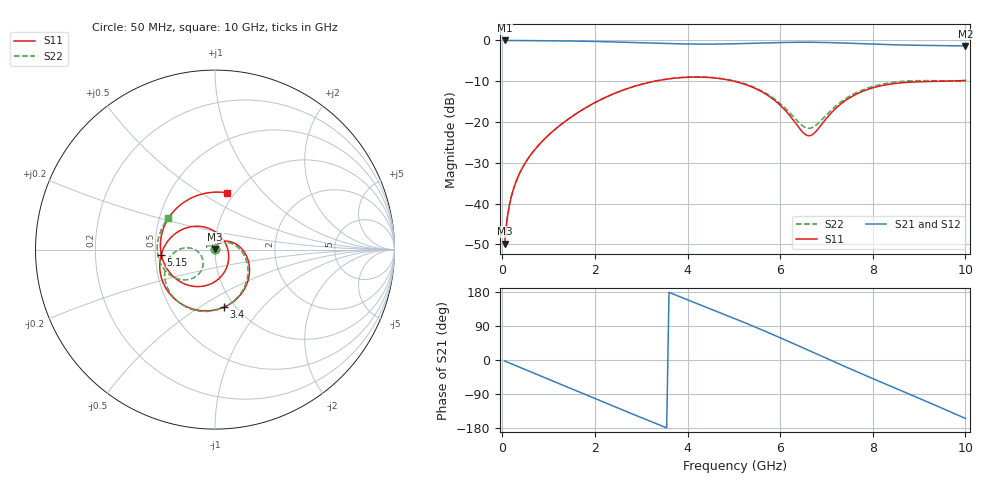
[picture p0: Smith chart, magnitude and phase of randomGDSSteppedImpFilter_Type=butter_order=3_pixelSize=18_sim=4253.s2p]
! freq	dB(S11)	phase(S11)	dB(S12)	phase(S12)
!  dB(S21)	phase(S21)	dB(S22)	phase(S22)
!S-par simulation data
#  GHz  S  DB  R 50
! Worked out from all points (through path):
!   200 points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, 50 MHz to 10 GHz, reference 50 ohm
!   highest |S21| = 0.00 dB at 50 MHz (marker M1); lowest = -1.3 dB at 10 GHz (marker M2)
!   group delay of S21, straight-line fit = 142 ps
!   lowest |S11| = -49.8 dB at 50 MHz (marker M3), VSWR 1.01, Z = 50.1 + j0.317 ohm
!   |S11| at or under -10 dB: start of sweep to 3.289 GHz; 5.007 GHz to 9.513 GHz (4.506 GHz wide, 62.1 % of centre)
!   |S22| runs from -50.4 to -8.9 dB; largest |S21 - S12| = 0
!   S11 on the Smith chart (normalised r, x): 50 MHz: 1.00, +0.01; 3.4 GHz: 0.89, -0.64; 5.15 GHz: 0.54, -0.03; 10 GHz: 0.93, +0.65
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0.05  -49.77 77.0  -0.00 -2.6  -0.00 -2.6  -50.41 80.5
0.1  -44.01 79.7  -0.01 -5.1  -0.01 -5.1  -44.10 79.6
0.2  -38.05 77.7  -0.02 -10.2  -0.02 -10.2  -38.02 76.1
0.45  -30.89 67.5  -0.04 -22.9  -0.04 -22.9  -30.89 64.7
1.15  -21.68 34.5  -0.10 -58.4  -0.10 -58.4  -21.70 29.0
1.75  -16.84 4.1  -0.19 -88.9  -0.19 -88.9  -16.85 -1.5
2.2  -14.10 -19.2  -0.30 -111.8  -0.30 -111.8  -14.11 -24.0
2.65  -12.00 -42.7  -0.45 -134.5  -0.45 -134.5  -12.00 -46.0
3.4  -9.76 -81.6  -0.72 -171.8  -0.72 -171.8  -9.74 -81.3
4.2  -8.97 -122.8  -0.90 149.4  -0.90 149.4  -8.93 -117.1
5.05  -10.12 -168.9  -0.81 107.8  -0.81 107.8  -10.02 -152.9
5.15  -10.44 -174.7  -0.78 102.8  -0.78 102.8  -10.32 -156.9
5.9  -14.86 134.7  -0.54 64.1  -0.54 64.1  -14.53 178.5
6.5  -22.63 54.9  -0.44 31.7  -0.44 31.7  -21.04 -166.5
6.7  -23.05 4.0  -0.45 20.8  -0.45 20.8  -21.32 -144.1
7.05  -18.42 -57.5  -0.52 1.7  -0.52 1.7  -17.66 -123.7
7.45  -14.42 -95.8  -0.67 -20.0  -0.67 -20.0  -14.01 -127.5
7.9  -11.97 -129.3  -0.86 -43.8  -0.86 -43.8  -11.64 -141.2
8.35  -10.75 -160.6  -1.03 -67.3  -1.03 -67.3  -10.42 -157.2
8.75  -10.26 171.3  -1.15 -88.0  -1.15 -88.0  -9.95 -171.5
9.15  -10.08 142.2  -1.22 -108.9  -1.22 -108.9  -9.84 174.6
10  -9.81 77.6  -1.35 -154.2  -1.35 -154.2  -10.00 146.2
